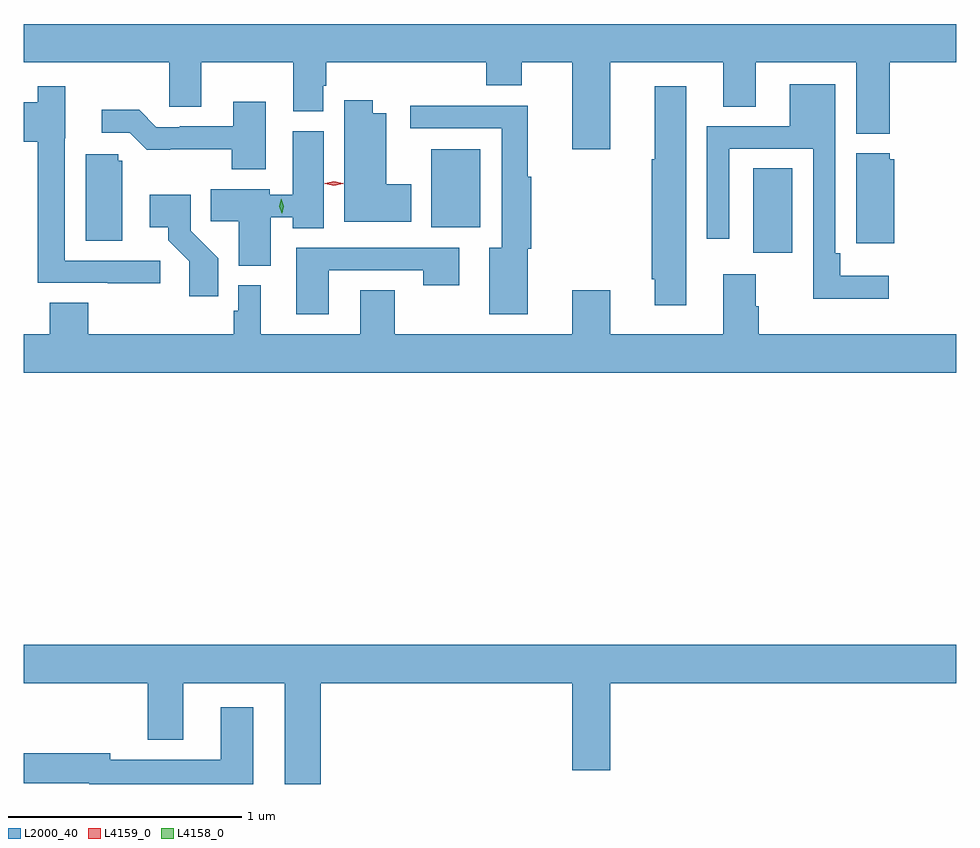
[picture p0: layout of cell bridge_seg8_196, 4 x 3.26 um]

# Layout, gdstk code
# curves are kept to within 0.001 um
import gdstk
lib = gdstk.Library(unit=1e-6, precision=1e-09)
def R(c, l, rs):  # rectangles x0, y0, x1, y1
    for r in rs: c.add(gdstk.rectangle(r[:2], r[2:], *l))
def P(c, l, *ps):  # polygons
    for p in ps: c.add(gdstk.Polygon(p, *l))
L2000_40 = (2000, 40)
L4158_0 = (4158, 0)
L4159_0 = (4159, 0)

bridge_seg8_196 = lib.new_cell('bridge_seg8_196')
R(bridge_seg8_196, L2000_40, [(345.605,1091.706,345.772,1092.068), (344.222,1091.816,344.434,1092.151)])
P(bridge_seg8_196, L2000_40, [(344.992,1092.524),(345.476,1092.524),(345.476,1092.334),(345.616,1092.334),(345.616,1092.524),(346.046,1092.524),(346.046,1092.218),(346.19,1092.218),(346.19,1092.524),(346.475,1092.524),(346.475,1092.688),(342.475,1092.688),(342.475,1092.524),(343.098,1092.524),(343.098,1092.334),(343.237,1092.334),(343.237,1092.524),(343.631,1092.524),(343.631,1092.313),(343.759,1092.313),(343.759,1092.423),(343.772,1092.423),(343.772,1092.524),(344.459,1092.524),(344.459,1092.425),(344.611,1092.425),(344.611,1092.524),(344.828,1092.524),(344.828,1092.15),(344.992,1092.15)],
  [(346.186,1091.608),(345.977,1091.608),(345.977,1091.704),(345.957,1091.704),(345.957,1092.43),(345.761,1092.43),(345.761,1092.249),(345.405,1092.249),(345.405,1091.766),(345.501,1091.766),(345.501,1092.153),(345.861,1092.153),(345.861,1091.51),(346.186,1091.51)],
  [(345.316,1092.421),(345.182,1092.421),(345.182,1092.108),(345.17,1092.108),(345.17,1091.593),(345.182,1091.593),(345.182,1091.481),(345.316,1091.481)],
  [(343.06,1091.673),(342.651,1091.673),(342.651,1092.198),(342.652,1092.198),(342.652,1092.421),(342.535,1092.421),(342.535,1092.352),(342.475,1092.352),(342.475,1092.182),(342.535,1092.182),(342.535,1091.577),(342.835,1091.577),(342.835,1091.575),(343.06,1091.575)],
  [(344.137,1092.001),(344.029,1092.001),(344.029,1092.304),(343.972,1092.304),(343.972,1092.361),(343.85,1092.361),(343.85,1091.84),(344.137,1091.84)],
  [(343.513,1092.355),(343.373,1092.355),(343.373,1092.249),(343.144,1092.249),(343.144,1092.246),(343.044,1092.246),(342.971,1092.319),(342.81,1092.319),(342.81,1092.222),(342.93,1092.222),(343.003,1092.149),(343.366,1092.15),(343.366,1092.065),(343.513,1092.065)],
  [(344.638,1091.724),(344.651,1091.724),(344.651,1092.033),(344.638,1092.033),(344.638,1092.338),(344.133,1092.338),(344.133,1092.24),(344.525,1092.24),(344.525,1091.728),(344.471,1091.728),(344.471,1091.442),(344.638,1091.442)],
  [(343.534,1091.858),(343.628,1091.858),(343.628,1091.812),(343.762,1091.812),(343.762,1092.228),(343.628,1092.228),(343.628,1091.955),(343.53,1091.955),(343.53,1091.98),(343.276,1091.98),(343.276,1091.842),(343.397,1091.842),(343.397,1091.651),(343.534,1091.651)],
  [(346.21,1092.108),(346.191,1092.108),(346.191,1092.133),(346.046,1092.133),(346.046,1091.747),(346.21,1091.747)],
  [(342.898,1092.102),(342.879,1092.102),(342.879,1092.129),(342.74,1092.129),(342.74,1091.758),(342.898,1091.758)],
  [(343.31,1091.682),(343.191,1091.801),(343.191,1091.956),(343.014,1091.956),(343.014,1091.816),(343.094,1091.816),(343.094,1091.761),(343.185,1091.671),(343.185,1091.52),(343.31,1091.52)],
  [(343.783,1091.631),(344.188,1091.631),(344.188,1091.568),(344.344,1091.568),(344.344,1091.727),(343.643,1091.727),(343.643,1091.442),(343.783,1091.442)],
  [(343.919,1091.546),(343.919,1091.356),(343.492,1091.356),(343.492,1091.566),(343.395,1091.566),(343.395,1091.457),(343.375,1091.457),(343.375,1091.356),(342.752,1091.356),(342.752,1091.492),(342.587,1091.492),(342.587,1091.356),(342.475,1091.356),(342.475,1091.192),(346.475,1091.192),(346.475,1091.356),(345.629,1091.356),(345.629,1091.477),(345.616,1091.477),(345.616,1091.614),(345.476,1091.614),(345.476,1091.356),(344.992,1091.356),(344.992,1091.545),(344.828,1091.545),(344.828,1091.356),(344.067,1091.356),(344.067,1091.546)],
  [(343.748,1089.86),(344.828,1089.86),(344.828,1089.486),(344.992,1089.486),(344.992,1089.86),(346.475,1089.86),(346.475,1090.024),(342.475,1090.024),(342.475,1089.86),(343.007,1089.86),(343.007,1089.617),(343.159,1089.617),(343.159,1089.86),(343.595,1089.86),(343.595,1089.427),(343.748,1089.427)],
  [(343.459,1089.757),(343.319,1089.757),(343.319,1089.532),(342.846,1089.532),(342.846,1089.559),(342.475,1089.559),(342.475,1089.43),(342.756,1089.43),(342.756,1089.427),(343.459,1089.427)])
P(bridge_seg8_196, L4158_0, [(343.582,1091.876),(343.571,1091.906),(343.58,1091.938),(343.58,1091.938),(343.58,1091.938),(343.591,1091.907),(343.583,1091.876),(343.583,1091.876)])
P(bridge_seg8_196, L4159_0, [(343.805,1091.994),(343.765,1092.003),(343.765,1092.004),(343.765,1092.004),(343.805,1092.014),(343.846,1092.004),(343.846,1092.004),(343.846,1092.003)])

lib.write_gds('bridge_seg8_196.gds')
